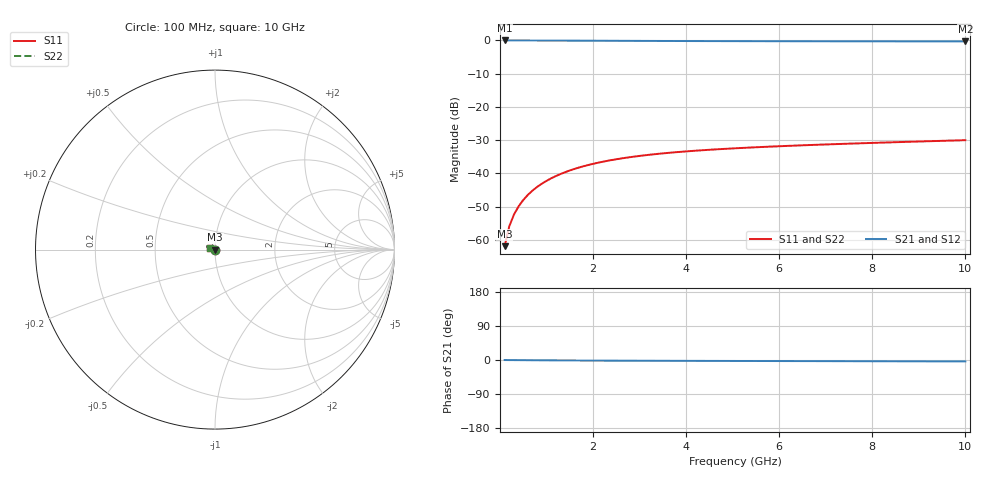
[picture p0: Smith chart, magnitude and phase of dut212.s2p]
! Touchstone file exported from HFSS 2024.1.0
!  File:  C:/UserFiles/LocalFiles/RDL_TSV_Batchsim/temp_TSV1_212_1778757948.aedt
!  Generated:  07:30:55 PM May 14, 2026
!  Design:  TSV1
!  Project:  temp_TSV1_212_1778757948
!  Setup:  Setup1
!  Solution:  Sweep
! Variables:
!  dtsv = 10.02um
!  hbump = 3um
!  htsv = 54.22um
!  lrdl = 252.1521522um
!  p = 40
!  p1 = 56.02um
!  t = 500um
!  trdl = 3um
!  wrdl = 24.89489489um
# GHz S MA R 50.000000
! Terminal data exported
! Port[1] = TSV22_T1
! Port[2] = TSV22_T2
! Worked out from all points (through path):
!   100 points, 100 MHz to 10 GHz, reference 50 ohm
!   highest |S21| = 0.00 dB at 100 MHz (marker M1); lowest = -0.3 dB at 10 GHz (marker M2)
!   lowest |S11| = -61.9 dB at 100 MHz (marker M3), VSWR 1.00, Z = 50 - j0.08 ohm
!   |S11| at or under -10 dB: start of sweep to end of sweep
!   |S22| runs from -61.9 to -30.0 dB; largest |S21 - S12| = 3.2e-15
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0.1  0.0008043 -83.9  0.9999 -0.1  0.9999 -0.1  0.0008043 -83.9
! Gamma 0 0 0 0
! Port Impedance 50 0 50 0
0.2  0.0016 -89.9  0.9997 -0.2  0.9997 -0.2  0.0016 -89.9
0.3  0.002398 -93.3  0.9996 -0.3  0.9996 -0.3  0.002398 -93.3
0.4  0.003191 -96.1  0.9994 -0.4  0.9994 -0.4  0.003191 -96.1
0.5  0.003977 -98.7  0.9991 -0.4  0.9991 -0.4  0.003977 -98.7
0.6  0.004753 -101.1  0.9988 -0.5  0.9988 -0.5  0.004753 -101.1
0.7  0.005517 -103.3  0.9984 -0.6  0.9984 -0.6  0.005517 -103.3
0.8  0.006268 -105.6  0.998 -0.7  0.998 -0.7  0.006268 -105.6
0.9  0.007004 -107.7  0.9975 -0.8  0.9975 -0.8  0.007004 -107.7
1.1  0.008429 -111.9  0.9965 -0.9  0.9965 -0.9  0.008429 -111.9
1.4  0.01043 -117.8  0.9948 -1.1  0.9948 -1.1  0.01043 -117.8
1.6  0.01167 -121.5  0.9935 -1.3  0.9935 -1.3  0.01167 -121.5
1.8  0.01284 -125.1  0.9922 -1.4  0.9922 -1.4  0.01284 -125.1
2.1  0.01444 -130.2  0.9903 -1.6  0.9903 -1.6  0.01444 -130.2
2.5  0.01632 -136.4  0.9877 -1.7  0.9877 -1.7  0.01632 -136.4
2.9  0.01796 -142.1  0.9853 -1.9  0.9853 -1.9  0.01796 -142.1
3.4  0.01969 -148.6  0.9827 -2.1  0.9827 -2.1  0.01969 -148.6
4.2  0.02195 -157.6  0.9791 -2.3  0.9791 -2.3  0.02195 -157.6
5.1  0.02396 -166.3  0.9759 -2.6  0.9759 -2.6  0.02396 -166.3
6.7  0.02679 -178.7  0.9721 -3.0  0.9721 -3.0  0.02679 -178.7
8.4  0.02934 170.7  0.9695 -3.4  0.9695 -3.4  0.02934 170.7
10  0.0316 162.5  0.9678 -3.8  0.9678 -3.8  0.0316 162.5
